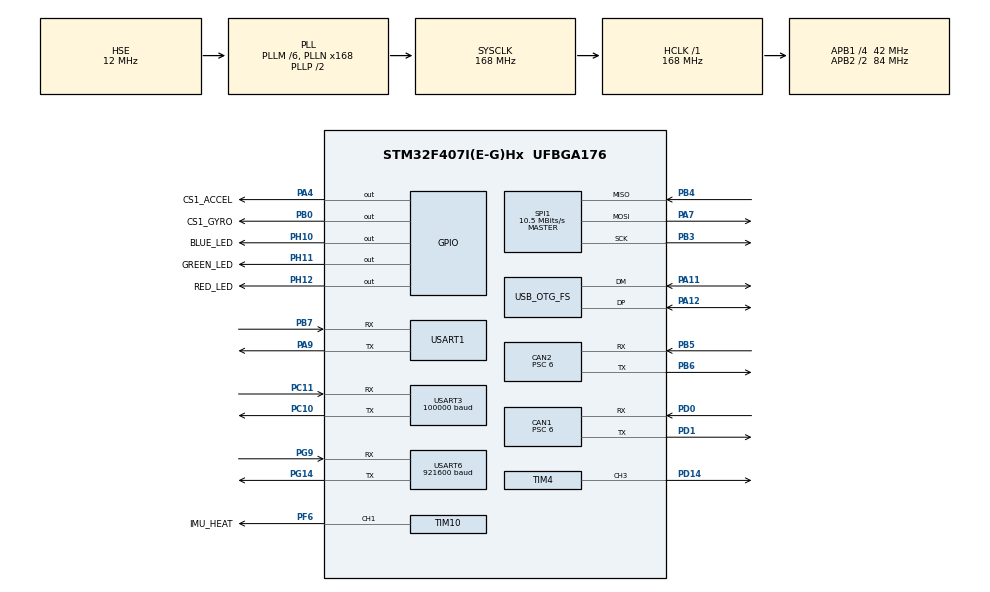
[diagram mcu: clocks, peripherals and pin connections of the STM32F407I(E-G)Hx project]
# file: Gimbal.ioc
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CAN1.ABOM=ENABLE
CAN1.BS1=CAN_BS1_3TQ
CAN1.BS2=CAN_BS2_3TQ
CAN1.CalculateBaudRate=1000000
CAN1.CalculateTimeBit=1000
CAN1.CalculateTimeQuantum=142.85714285714286
CAN1.NART=ENABLE
CAN1.Prescaler=6
CAN2.ABOM=ENABLE
CAN2.BS1=CAN_BS1_3TQ
CAN2.BS2=CAN_BS2_3TQ
CAN2.CalculateBaudRate=1000000
CAN2.CalculateTimeBit=1000
CAN2.CalculateTimeQuantum=142.85714285714286
CAN2.Prescaler=6
Dma.Request0=SPI1_RX
Dma.Request1=SPI1_TX
Dma.Request2=USART3_RX
Dma.Request3=USART6_RX
Dma.Request4=USART1_RX
Dma.SPI1_RX.0.Direction=DMA_PERIPH_TO_MEMORY
Dma.SPI1_RX.0.FIFOMode=DMA_FIFOMODE_DISABLE
Dma.SPI1_RX.0.Instance=DMA2_Stream0
Dma.SPI1_RX.0.MemDataAlignment=DMA_MDATAALIGN_BYTE
Dma.SPI1_RX.0.MemInc=DMA_MINC_ENABLE
Dma.SPI1_RX.0.Mode=DMA_NORMAL
Dma.SPI1_RX.0.PeriphDataAlignment=DMA_PDATAALIGN_BYTE
Dma.SPI1_RX.0.PeriphInc=DMA_PINC_DISABLE
Dma.SPI1_RX.0.Priority=DMA_PRIORITY_VERY_HIGH
Dma.SPI1_TX.1.Direction=DMA_MEMORY_TO_PERIPH
Dma.SPI1_TX.1.FIFOMode=DMA_FIFOMODE_DISABLE
Dma.SPI1_TX.1.Instance=DMA2_Stream3
Dma.SPI1_TX.1.MemDataAlignment=DMA_MDATAALIGN_BYTE
Dma.SPI1_TX.1.MemInc=DMA_MINC_ENABLE
Dma.SPI1_TX.1.Mode=DMA_NORMAL
Dma.SPI1_TX.1.PeriphDataAlignment=DMA_PDATAALIGN_BYTE
Dma.SPI1_TX.1.PeriphInc=DMA_PINC_DISABLE
Dma.SPI1_TX.1.Priority=DMA_PRIORITY_VERY_HIGH
Dma.USART1_RX.4.Direction=DMA_PERIPH_TO_MEMORY
Dma.USART1_RX.4.FIFOMode=DMA_FIFOMODE_DISABLE
Dma.USART1_RX.4.Instance=DMA2_Stream2
Dma.USART1_RX.4.MemDataAlignment=DMA_MDATAALIGN_BYTE
Dma.USART1_RX.4.MemInc=DMA_MINC_ENABLE
Dma.USART1_RX.4.Mode=DMA_CIRCULAR
Dma.USART1_RX.4.PeriphDataAlignment=DMA_PDATAALIGN_BYTE
Dma.USART1_RX.4.PeriphInc=DMA_PINC_DISABLE
Dma.USART1_RX.4.Priority=DMA_PRIORITY_VERY_HIGH
Dma.USART3_RX.2.Direction=DMA_PERIPH_TO_MEMORY
Dma.USART3_RX.2.FIFOMode=DMA_FIFOMODE_DISABLE
Dma.USART3_RX.2.Instance=DMA1_Stream1
Dma.USART3_RX.2.MemDataAlignment=DMA_MDATAALIGN_BYTE
Dma.USART3_RX.2.MemInc=DMA_MINC_ENABLE
Dma.USART3_RX.2.Mode=DMA_NORMAL
Dma.USART3_RX.2.PeriphDataAlignment=DMA_PDATAALIGN_BYTE
Dma.USART3_RX.2.PeriphInc=DMA_PINC_DISABLE
Dma.USART3_RX.2.Priority=DMA_PRIORITY_HIGH
Dma.USART6_RX.3.Direction=DMA_PERIPH_TO_MEMORY
Dma.USART6_RX.3.FIFOMode=DMA_FIFOMODE_DISABLE
Dma.USART6_RX.3.Instance=DMA2_Stream1
Dma.USART6_RX.3.MemDataAlignment=DMA_MDATAALIGN_BYTE
Dma.USART6_RX.3.MemInc=DMA_MINC_ENABLE
Dma.USART6_RX.3.Mode=DMA_NORMAL
Dma.USART6_RX.3.PeriphDataAlignment=DMA_PDATAALIGN_BYTE
Dma.USART6_RX.3.PeriphInc=DMA_PINC_DISABLE
Dma.USART6_RX.3.Priority=DMA_PRIORITY_VERY_HIGH
FREERTOS.INCLUDE_eTaskGetState=1
FREERTOS.INCLUDE_pcTaskGetTaskName=1
FREERTOS.INCLUDE_uxTaskGetStackHighWaterMark=1
FREERTOS.INCLUDE_vTaskCleanUpResources=1
FREERTOS.INCLUDE_vTaskDelayUntil=1
FREERTOS.INCLUDE_xEventGroupSetBitFromISR=1
FREERTOS.INCLUDE_xQueueGetMutexHolder=1
FREERTOS.INCLUDE_xSemaphoreGetMutexHolder=1
FREERTOS.INCLUDE_xTaskAbortDelay=1
FREERTOS.INCLUDE_xTaskGetCurrentTaskHandle=1
FREERTOS.INCLUDE_xTaskGetHandle=1
FREERTOS.INCLUDE_xTimerPendFunctionCall=1
FREERTOS.Tasks01=OfflineTask,3,1024,Offline_task,As weak,NULL,Dynamic,NULL,NULL;GimbalEstimateT,3,1024,GimbalEstimate_task,As weak,NULL,Dynamic,NULL,NULL;ChassisTask,3,1024,Chassis_Task,As weak,NULL,Dynamic,NULL,NULL;ActionTask,3,1024,Action_Task,As weak,NULL,Dynamic,NULL,NULL;GimbalTask,3,1024,Gimbal_Task,As weak,NULL,Dynamic,NULL,NULL
FREERTOS.configTOTAL_HEAP_SIZE=34000
FREERTOS.configUSE_TIMERS=1
Mcu.Family=STM32F4
Mcu.Name=STM32F407I(E-G)Hx
Mcu.Package=UFBGA176
NVIC.CAN1_RX0_IRQn=true\:5\:0\:false\:false\:true\:true\:true\:true\:true
NVIC.CAN1_RX1_IRQn=true\:5\:0\:false\:false\:true\:true\:true\:true\:true
NVIC.CAN2_RX0_IRQn=true\:5\:0\:false\:false\:true\:true\:true\:true\:true
NVIC.CAN2_RX1_IRQn=true\:5\:0\:false\:false\:true\:true\:true\:true\:true
NVIC.DMA1_Stream1_IRQn=true\:5\:0\:false\:false\:true\:true\:false\:true\:true
NVIC.DMA2_Stream0_IRQn=true\:5\:0\:false\:false\:true\:true\:false\:true\:true
NVIC.DMA2_Stream1_IRQn=true\:5\:0\:false\:false\:true\:true\:false\:true\:true
NVIC.DMA2_Stream2_IRQn=true\:5\:0\:false\:false\:true\:true\:false\:true\:true
NVIC.DMA2_Stream3_IRQn=true\:5\:0\:false\:false\:true\:true\:false\:true\:true
NVIC.OTG_FS_IRQn=true\:5\:0\:false\:false\:true\:true\:false\:true\:true
NVIC.PriorityGroup=NVIC_PRIORITYGROUP_4
NVIC.TIM1_UP_TIM10_IRQn=true\:5\:0\:false\:false\:true\:true\:true\:true\:true
NVIC.TIM2_IRQn=true\:15\:0\:false\:false\:true\:false\:false\:true\:true
NVIC.TimeBase=TIM2_IRQn
NVIC.TimeBaseIP=TIM2
NVIC.USART1_IRQn=true\:5\:0\:false\:false\:true\:true\:true\:true\:true
NVIC.USART3_IRQn=true\:5\:0\:false\:false\:true\:true\:true\:true\:true
NVIC.USART6_IRQn=true\:5\:0\:false\:false\:true\:true\:true\:true\:true
PA11.Mode=Device_Only
PA11.Signal=USB_OTG_FS_DM
PA12.Mode=Device_Only
PA12.Signal=USB_OTG_FS_DP
PA13.Mode=Serial_Wire
PA13.Signal=SYS_JTMS-SWDIO
PA14.Mode=Serial_Wire
PA14.Signal=SYS_JTCK-SWCLK
PA4.GPIO_Label=CS1_ACCEL
PA4.GPIO_PuPd=GPIO_PULLUP
PA4.GPIO_Speed=GPIO_SPEED_FREQ_HIGH
PA4.PinState=GPIO_PIN_SET
PA4.Signal=GPIO_Output
PA7.GPIO_PuPd=GPIO_PULLUP
PA7.Mode=Full_Duplex_Master
PA7.Signal=SPI1_MOSI
PA9.Mode=Asynchronous
PA9.Signal=USART1_TX
PB0.GPIO_Label=CS1_GYRO
PB0.GPIO_PuPd=GPIO_PULLUP
PB0.GPIO_Speed=GPIO_SPEED_FREQ_HIGH
PB0.PinState=GPIO_PIN_SET
PB0.Signal=GPIO_Output
PB3.GPIO_PuPd=GPIO_PULLUP
PB3.Mode=Full_Duplex_Master
PB3.Signal=SPI1_SCK
PB4.GPIO_PuPd=GPIO_PULLUP
PB4.Mode=Full_Duplex_Master
PB4.Signal=SPI1_MISO
PB5.Mode=CAN_Activate
PB5.Signal=CAN2_RX
PB6.Mode=CAN_Activate
PB6.Signal=CAN2_TX
PB7.Mode=Asynchronous
PB7.Signal=USART1_RX
PC10.Mode=Asynchronous
PC10.Signal=USART3_TX
PC11.Mode=Asynchronous
PC11.Signal=USART3_RX
PD0.Mode=CAN_Activate
PD0.Signal=CAN1_RX
PD1.Mode=CAN_Activate
PD1.Signal=CAN1_TX
PD14.GPIO_Speed=GPIO_SPEED_FREQ_VERY_HIGH
PD14.Signal=S_TIM4_CH3
PF6.GPIO_Label=IMU_HEAT
PF6.GPIO_PuPd=GPIO_PULLUP
PF6.GPIO_Speed=GPIO_SPEED_FREQ_HIGH
PF6.Signal=S_TIM10_CH1
PG14.Mode=Asynchronous
PG14.Signal=USART6_TX
PG9.Mode=Asynchronous
PG9.Signal=USART6_RX
PH0-OSC_IN.Mode=HSE-External-Oscillator
PH0-OSC_IN.Signal=RCC_OSC_IN
PH1-OSC_OUT.Mode=HSE-External-Oscillator
PH1-OSC_OUT.Signal=RCC_OSC_OUT
PH10.GPIO_Label=BLUE_LED
PH10.GPIO_Speed=GPIO_SPEED_FREQ_MEDIUM
PH10.Signal=GPIO_Output
PH11.GPIO_Label=GREEN_LED
PH11.GPIO_Speed=GPIO_SPEED_FREQ_MEDIUM
PH11.Signal=GPIO_Output
PH12.GPIO_Label=RED_LED
PH12.GPIO_Speed=GPIO_SPEED_FREQ_MEDIUM
PH12.Signal=GPIO_Output
ProjectManager.HeapSize=0x200
ProjectManager.StackSize=0x400
ProjectManager.TargetToolchain=MDK-ARM V5.32
RCC.48MHZClocksFreq_Value=48000000
RCC.AHBFreq_Value=168000000
RCC.APB1CLKDivider=RCC_HCLK_DIV4
RCC.APB1Freq_Value=42000000
RCC.APB1TimFreq_Value=84000000
RCC.APB2CLKDivider=RCC_HCLK_DIV2
RCC.APB2Freq_Value=84000000
RCC.APB2TimFreq_Value=168000000
RCC.CortexFreq_Value=168000000
RCC.HCLKFreq_Value=168000000
RCC.HSE_VALUE=12000000
RCC.HSI_VALUE=16000000
RCC.LSE_VALUE=32768
RCC.PLLM=6
RCC.PLLN=168
RCC.PLLQ=7
RCC.SYSCLKFreq_VALUE=168000000
RCC.SYSCLKSource=RCC_SYSCLKSOURCE_PLLCLK
RCC.VCOOutputFreq_Value=336000000
SH.S_TIM10_CH1.0=TIM10_CH1,PWM Generation1 CH1
SH.S_TIM4_CH3.0=TIM4_CH3,PWM Generation3 CH3
SPI1.BaudRatePrescaler=SPI_BAUDRATEPRESCALER_8
SPI1.CLKPhase=SPI_PHASE_2EDGE
SPI1.CLKPolarity=SPI_POLARITY_HIGH
SPI1.CalculateBaudRate=10.5 MBits/s
SPI1.Direction=SPI_DIRECTION_2LINES
SPI1.Mode=SPI_MODE_MASTER
SPI1.VirtualType=VM_MASTER
STMicroelectronics.X-CUBE-ALGOBUILD.1.4.0.LibraryCcDSPOoLibraryJjDSPOoLibrary=true
TIM10.Channel=TIM_CHANNEL_1
TIM10.Period=65535
TIM10.Prescaler=0
TIM4.Channel-PWM\ Generation3\ CH3=TIM_CHANNEL_3
TIM4.Period=8400-1
TIM4.Prescaler=10-1
TIM4.Pulse-PWM\ Generation3\ CH3=4199
USART1.VirtualMode=VM_ASYNC
USART3.BaudRate=100000
USART3.VirtualMode=VM_ASYNC
USART6.BaudRate=921600
USART6.VirtualMode=VM_ASYNC
USB_DEVICE.CLASS_NAME_FS=CDC
USB_DEVICE.VirtualMode-CDC_FS=Cdc
USB_DEVICE.VirtualModeFS=Cdc_FS
USB_OTG_FS.VirtualMode=Device_Only
VP_FREERTOS_VS_CMSIS_V1.Mode=CMSIS_V1
VP_STMicroelectronics.X-CUBE-ALGOBUILD_VS_DSPOoLibraryJjLibrary_1.4.0_1.4.0.Mode=DSPOoLibraryJjLibrary
VP_SYS_VS_tim2.Mode=TIM2
VP_TIM10_VS_ClockSourceINT.Mode=Enable_Timer
VP_TIM4_VS_ClockSourceINT.Mode=Internal
VP_USB_DEVICE_VS_USB_DEVICE_CDC_FS.Mode=CDC_FS
board=custom

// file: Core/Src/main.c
/* USER CODE BEGIN Header */
/**
  ******************************************************************************
  * @file           : main.c
  * @brief          : Main program body
  ******************************************************************************
  * @attention
  *
  * Copyright (c) 2026 STMicroelectronics.
  * All rights reserved.
  *
  * This software is licensed under terms that can be found in the LICENSE file
  * in the root directory of this software component.
  * If no LICENSE file comes with this software, it is provided AS-IS.
  *
  ******************************************************************************
  */
/* USER CODE END Header */
#include "main.h"
#include "cmsis_os.h"
#include "can.h"
#include "dma.h"
#include "spi.h"
#include "tim.h"
#include "usart.h"
#include "usb_device.h"
#include "gpio.h"

/* USER CODE BEGIN Includes */
#include "bsp_dwt.h"
#include "bsp_DT7.h"
#include "bsp_VTM.h"
#include "bsp_can.h"
#include "bsp_led.h"
#include "BMI088driver.h"
#include "tof.h"
#include "remote_control.h"
/* USER CODE END Includes */

void SystemClock_Config(void);
void MX_FREERTOS_Init(void);

int main(void)
{

  /* MCU Configuration--------------------------------------------------------*/

  /* Reset of all peripherals, Initializes the Flash interface and the Systick. */
  HAL_Init();

  /* Configure the system clock */
  SystemClock_Config();

  /* Initialize all configured peripherals */
  MX_GPIO_Init();
  MX_DMA_Init();
  MX_CAN1_Init();
  MX_CAN2_Init();
  MX_SPI1_Init();
  MX_USART3_UART_Init();
  MX_USART6_UART_Init();
  MX_TIM10_Init();
  MX_TIM4_Init();
  MX_USART1_UART_Init();
  /* USER CODE BEGIN 2 */
	LED_On(RED_LED_Pin);//initial start

	DWT_Init(168);
	can_filter_init();
	while (BMI088_init(&hspi1, 0) != BMI088_NO_ERROR){;}
	remote_DT7_init();
	remote_VTM_init();
	TOF_Init();
	initRemoteControl(REMOTE_CONTROL);

  /* USER CODE END 2 */

  /* Call init function for freertos objects (in cmsis_os2.c) */
  MX_FREERTOS_Init();

  /* Start scheduler */
  osKernelStart();

  /* We should never get here as control is now taken by the scheduler */

  /* Infinite loop */
  while (1)
  {

  }
}

void SystemClock_Config(void)
{
  RCC_OscInitTypeDef RCC_OscInitStruct = {0};
  RCC_ClkInitTypeDef RCC_ClkInitStruct = {0};

  /** Configure the main internal regulator output voltage
  */
  __HAL_RCC_PWR_CLK_ENABLE();
  __HAL_PWR_VOLTAGESCALING_CONFIG(PWR_REGULATOR_VOLTAGE_SCALE1);

  /** Initializes the RCC Oscillators according to the specified parameters
  * in the RCC_OscInitTypeDef structure.
  */
  RCC_OscInitStruct.OscillatorType = RCC_OSCILLATORTYPE_HSE;
  RCC_OscInitStruct.HSEState = RCC_HSE_ON;
  RCC_OscInitStruct.PLL.PLLState = RCC_PLL_ON;
  RCC_OscInitStruct.PLL.PLLSource = RCC_PLLSOURCE_HSE;
  RCC_OscInitStruct.PLL.PLLM = 6;
  RCC_OscInitStruct.PLL.PLLN = 168;
  RCC_OscInitStruct.PLL.PLLP = RCC_PLLP_DIV2;
  RCC_OscInitStruct.PLL.PLLQ = 7;
  if (HAL_RCC_OscConfig(&RCC_OscInitStruct) != HAL_OK)
  {
    Error_Handler();
  }

  /** Initializes the CPU, AHB and APB buses clocks
  */
  RCC_ClkInitStruct.ClockType = RCC_CLOCKTYPE_HCLK|RCC_CLOCKTYPE_SYSCLK
                              |RCC_CLOCKTYPE_PCLK1|RCC_CLOCKTYPE_PCLK2;
  RCC_ClkInitStruct.SYSCLKSource = RCC_SYSCLKSOURCE_PLLCLK;
  RCC_ClkInitStruct.AHBCLKDivider = RCC_SYSCLK_DIV1;
  RCC_ClkInitStruct.APB1CLKDivider = RCC_HCLK_DIV4;
  RCC_ClkInitStruct.APB2CLKDivider = RCC_HCLK_DIV2;

  if (HAL_RCC_ClockConfig(&RCC_ClkInitStruct, FLASH_LATENCY_5) != HAL_OK)
  {
    Error_Handler();
  }
}

void HAL_TIM_PeriodElapsedCallback(TIM_HandleTypeDef *htim)
{
  if (htim->Instance == TIM2)
  {
    HAL_IncTick();
  }
}

void Error_Handler(void)
{
  __disable_irq();
  while (1)
  {
  }
}

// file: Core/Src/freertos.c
/* USER CODE BEGIN Header */
/**
  ******************************************************************************
  * File Name          : freertos.c
  * Description        : Code for freertos applications
  ******************************************************************************
  * @attention
  *
  * Copyright (c) 2026 STMicroelectronics.
  * All rights reserved.
  *
  * This software is licensed under terms that can be found in the LICENSE file
  * in the root directory of this software component.
  * If no LICENSE file comes with this software, it is provided AS-IS.
  *
  ******************************************************************************
  */
/* USER CODE END Header */

#include "FreeRTOS.h"
#include "task.h"
#include "main.h"
#include "cmsis_os.h"

/* USER CODE BEGIN Includes */
#include "GimbalEstimateTask.h"
//#include "ins.h"
#include "Offline_Task.h"
#include "GimbalTask.h"
#include "ActionTask.h"
#include "ChassisTask.h"

/* USER CODE END Includes */

osThreadId OfflineTaskHandle;
osThreadId GimbalEstimateTHandle;
osThreadId ChassisTaskHandle;
osThreadId ActionTaskHandle;
osThreadId GimbalTaskHandle;

void Offline_task(void const * argument);
void GimbalEstimate_task(void const * argument);
void Chassis_Task(void const * argument);
void Action_Task(void const * argument);
void Gimbal_Task(void const * argument);

extern void MX_USB_DEVICE_Init(void);
void MX_FREERTOS_Init(void); /* (MISRA C 2004 rule 8.1) */

/* GetIdleTaskMemory prototype (linked to static allocation support) */
void vApplicationGetIdleTaskMemory( StaticTask_t **ppxIdleTaskTCBBuffer, StackType_t **ppxIdleTaskStackBuffer, uint32_t *pulIdleTaskStackSize );

/* GetTimerTaskMemory prototype (linked to static allocation support) */
void vApplicationGetTimerTaskMemory( StaticTask_t **ppxTimerTaskTCBBuffer, StackType_t **ppxTimerTaskStackBuffer, uint32_t *pulTimerTaskStackSize );

/* USER CODE BEGIN GET_IDLE_TASK_MEMORY */
static StaticTask_t xIdleTaskTCBBuffer;
static StackType_t xIdleStack[configMINIMAL_STACK_SIZE];

void vApplicationGetIdleTaskMemory( StaticTask_t **ppxIdleTaskTCBBuffer, StackType_t **ppxIdleTaskStackBuffer, uint32_t *pulIdleTaskStackSize )
{
  *ppxIdleTaskTCBBuffer = &xIdleTaskTCBBuffer;
  *ppxIdleTaskStackBuffer = &xIdleStack[0];
  *pulIdleTaskStackSize = configMINIMAL_STACK_SIZE;
  /* place for user code */
}
/* USER CODE END GET_IDLE_TASK_MEMORY */

/* USER CODE BEGIN GET_TIMER_TASK_MEMORY */
static StaticTask_t xTimerTaskTCBBuffer;
static StackType_t xTimerStack[configTIMER_TASK_STACK_DEPTH];

void vApplicationGetTimerTaskMemory( StaticTask_t **ppxTimerTaskTCBBuffer, StackType_t **ppxTimerTaskStackBuffer, uint32_t *pulTimerTaskStackSize )
{
  *ppxTimerTaskTCBBuffer = &xTimerTaskTCBBuffer;
  *ppxTimerTaskStackBuffer = &xTimerStack[0];
  *pulTimerTaskStackSize = configTIMER_TASK_STACK_DEPTH;
  /* place for user code */
}
/* USER CODE END GET_TIMER_TASK_MEMORY */

void MX_FREERTOS_Init(void) {

  /* Create the thread(s) */
  /* definition and creation of OfflineTask */
  osThreadDef(OfflineTask, Offline_task, osPriorityRealtime, 0, 1024);
  OfflineTaskHandle = osThreadCreate(osThread(OfflineTask), NULL);

  /* definition and creation of GimbalEstimateT */
  osThreadDef(GimbalEstimateT, GimbalEstimate_task, osPriorityRealtime, 0, 1024);
  GimbalEstimateTHandle = osThreadCreate(osThread(GimbalEstimateT), NULL);

  /* definition and creation of ChassisTask */
  osThreadDef(ChassisTask, Chassis_Task, osPriorityRealtime, 0, 1024);
  ChassisTaskHandle = osThreadCreate(osThread(ChassisTask), NULL);

  /* definition and creation of ActionTask */
  osThreadDef(ActionTask, Action_Task, osPriorityRealtime, 0, 1024);
  ActionTaskHandle = osThreadCreate(osThread(ActionTask), NULL);

  /* definition and creation of GimbalTask */
  osThreadDef(GimbalTask, Gimbal_Task, osPriorityRealtime, 0, 1024);
  GimbalTaskHandle = osThreadCreate(osThread(GimbalTask), NULL);

}

__weak void Offline_task(void const * argument)
{
  /* init code for USB_DEVICE */
  MX_USB_DEVICE_Init();
  for(;;)
  {
    osDelay(1);
  }
}

__weak void GimbalEstimate_task(void const * argument)
{
  for(;;)
  {
    osDelay(1);
  }
}

__weak void Chassis_Task(void const * argument)
{
  for(;;)
  {
    osDelay(1);
  }
}

__weak void Action_Task(void const * argument)
{
  for(;;)
  {
    osDelay(1);
  }
}

__weak void Gimbal_Task(void const * argument)
{
  for(;;)
  {
    osDelay(1);
  }
}
